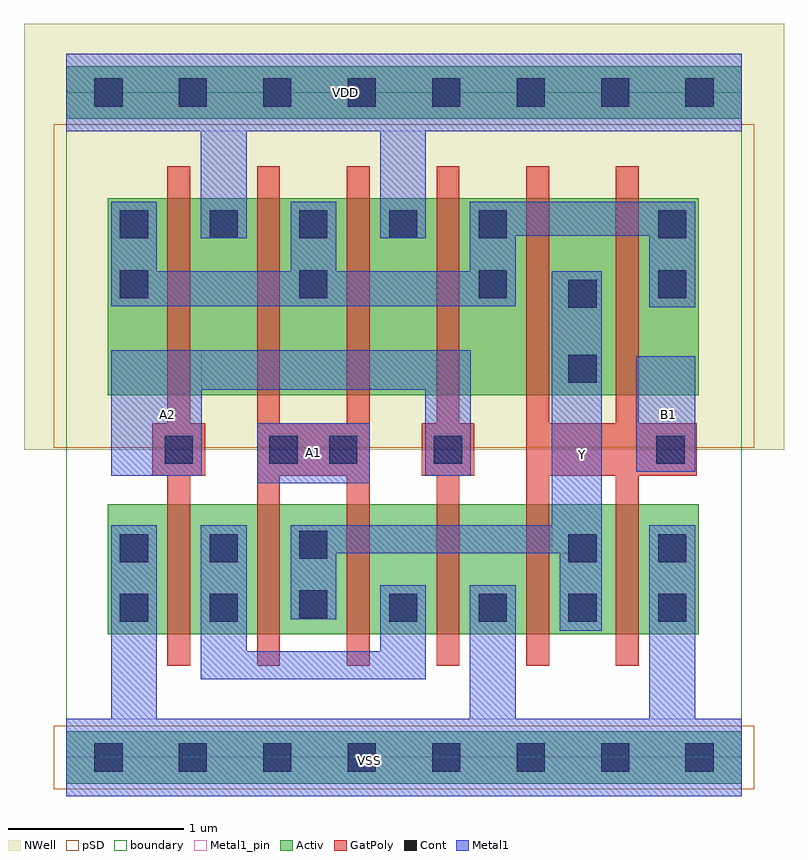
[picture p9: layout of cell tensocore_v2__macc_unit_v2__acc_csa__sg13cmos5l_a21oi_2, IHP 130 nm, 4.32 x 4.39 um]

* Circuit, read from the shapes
.subckt tensocore_v2__macc_unit_v2__acc_csa__sg13cmos5l_a21oi_2 A1 A2 B1 VDD VSS Y
XM1 n1 A2 VSS VSS sg13_lv_nmos w=0.74u l=0.13u m=2
XM2 Y A1 n1 VSS sg13_lv_nmos w=0.74u l=0.13u m=2
XM3 Y B1 VSS VSS sg13_lv_nmos w=0.74u l=0.13u m=2
XM4 VDD A2 n2 VDD sg13_lv_pmos w=1.12u l=0.13u m=2
XM5 n2 A1 VDD VDD sg13_lv_pmos w=1.12u l=0.13u m=2
XM6 Y B1 n2 VDD sg13_lv_pmos w=1.12u l=0.13u m=2
.ends

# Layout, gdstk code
import gdstk
lib = gdstk.Library(unit=1e-6, precision=1e-09)
def R(c, l, rs):  # rectangles x0, y0, x1, y1
    for r in rs: c.add(gdstk.rectangle(r[:2], r[2:], *l))
def A(c, l, x, y, w, h, nx, ny, dx, dy):  # array of equal rectangles
    R(c, l, [(x+i*dx, y+j*dy, x+i*dx+w, y+j*dy+h) for i in range(nx) for j in range(ny)])
def P(c, l, *ps):  # polygons
    for p in ps: c.add(gdstk.Polygon(p, *l))
Activ = (1, 0)
GatPoly = (5, 0)
Cont = (6, 0)
Metal1 = (8, 0)
Metal1_pin = (8, 2)
pSD = (14, 0)
NWell = (31, 0)
boundary = (189, 4)

tensocore_v2__macc_unit_ = lib.new_cell('tensocore_v2__macc_unit_v2__acc_csa__sg13cmos5l_a21oi_2')
R(tensocore_v2__macc_unit_, Activ, [(0,-0.15,3.84,0.15), (0.235,0.7,3.595,1.44), (0.235,2.06,3.595,3.18), (0,3.63,3.84,3.93)])
P(tensocore_v2__macc_unit_, GatPoly, [(1.085,0.52),(1.085,3.36),(1.215,3.36),(1.215,1.9),(1.595,1.9),(1.595,3.36),(1.725,3.36),(1.725,0.52),(1.595,0.52),(1.595,1.6),(1.215,1.6),(1.215,0.52)],
  [(2.615,0.52),(2.615,3.36),(2.745,3.36),(2.745,1.9),(3.125,1.9),(3.125,3.36),(3.255,3.36),(3.255,1.9),(3.585,1.9),(3.585,1.6),(3.255,1.6),(3.255,0.52),(3.125,0.52),(3.125,1.6),(2.745,1.6),(2.745,0.52)],
  [(0.575,0.52),(0.575,1.6),(0.49,1.6),(0.49,1.9),(0.575,1.9),(0.575,3.36),(0.705,3.36),(0.705,1.9),(0.79,1.9),(0.79,1.6),(0.705,1.6),(0.705,0.52)],
  [(2.105,0.52),(2.105,1.6),(2.02,1.6),(2.02,1.9),(2.105,1.9),(2.105,3.36),(2.235,3.36),(2.235,1.9),(2.32,1.9),(2.32,1.6),(2.235,1.6),(2.235,0.52)])
A(tensocore_v2__macc_unit_, Cont, 0.16, -0.08, 0.16, 0.16, 8, 2, 0.48, 3.78)
A(tensocore_v2__macc_unit_, Cont, 1.835, 0.77, 0.16, 0.16, 4, 1, 0.51, 0)
A(tensocore_v2__macc_unit_, Cont, 0.305, 2.61, 0.16, 0.16, 4, 1, 1.02, 0)
A(tensocore_v2__macc_unit_, Cont, 0.305, 2.95, 0.16, 0.16, 5, 1, 0.51, 0)
R(tensocore_v2__macc_unit_, Cont, [(0.305,0.77,0.465,0.93), (0.815,0.77,0.975,0.93), (1.325,0.79,1.485,0.95), (0.305,1.11,0.465,1.27), (0.815,1.11,0.975,1.27), (2.855,1.11,3.015,1.27), (3.365,1.11,3.525,1.27), (1.325,1.13,1.485,1.29), (0.56,1.67,0.72,1.83), (1.155,1.67,1.315,1.83), (1.495,1.67,1.655,1.83), (2.09,1.67,2.25,1.83), (3.355,1.67,3.515,1.83), (2.855,2.13,3.015,2.29), (2.855,2.555,3.015,2.715), (3.365,2.95,3.525,3.11)])
R(tensocore_v2__macc_unit_, Metal1, [(1.085,1.56,1.725,1.9), (3.24,1.625,3.575,2.28)])
P(tensocore_v2__macc_unit_, Metal1, [(0.255,1.6),(0.255,2.315),(2.3,2.315),(2.3,1.6),(2.04,1.6),(2.04,2.09),(0.77,2.09),(0.77,1.6)],
  [(0.765,0.445),(0.765,1.32),(1.025,1.32),(1.025,0.605),(1.785,0.605),(1.785,0.98),(2.045,0.98),(2.045,0.445)],
  [(2.805,0.72),(2.805,1.16),(1.535,1.16),(1.535,0.785),(1.275,0.785),(1.275,1.32),(2.76,1.32),(2.76,2.765),(3.045,2.765),(3.045,0.72)],
  [(3.315,2.56),(3.315,2.965),(2.555,2.965),(2.555,2.565),(0.255,2.565),(0.255,3.16),(0.515,3.16),(0.515,2.765),(1.275,2.765),(1.275,3.16),(1.535,3.16),(1.535,2.765),(2.295,2.765),(2.295,3.16),(3.575,3.16),(3.575,2.56)],
  [(0.765,2.95),(0.765,3.56),(0,3.56),(0,4),(3.84,4),(3.84,3.56),(2.045,3.56),(2.045,2.95),(1.785,2.95),(1.785,3.56),(1.025,3.56),(1.025,2.95)],
  [(0,-0.22),(0,0.22),(0.255,0.22),(0.255,1.32),(0.515,1.32),(0.515,0.22),(2.295,0.22),(2.295,0.98),(2.555,0.98),(2.555,0.22),(3.315,0.22),(3.315,1.32),(3.575,1.32),(3.575,0.22),(3.84,0.22),(3.84,-0.22)])
R(tensocore_v2__macc_unit_, Metal1_pin, [(0,-0.22,3.84,0.22), (2.76,1.16,3.045,2.765), (1.085,1.56,1.725,1.9), (0.255,1.6,0.77,2.315), (3.24,1.625,3.575,2.28), (0,3.56,3.84,4)])
R(tensocore_v2__macc_unit_, pSD, [(-0.07,-0.18,3.91,0.18), (-0.07,1.76,3.91,3.6)])
R(tensocore_v2__macc_unit_, NWell, [(-0.24,1.75,4.08,4.17)])
R(tensocore_v2__macc_unit_, boundary, [(0,0,3.84,3.78)])
tensocore_v2__macc_unit_.add(gdstk.Label('VDD', (1.585,3.78), layer=8, texttype=25))
tensocore_v2__macc_unit_.add(gdstk.Label('B1', (3.425,1.95), layer=8, texttype=25))
tensocore_v2__macc_unit_.add(gdstk.Label('VSS', (1.725,-0.02), layer=8, texttype=25))
tensocore_v2__macc_unit_.add(gdstk.Label('A1', (1.405,1.735), layer=8, texttype=25))
tensocore_v2__macc_unit_.add(gdstk.Label('A2', (0.575,1.95), layer=8, texttype=25))
tensocore_v2__macc_unit_.add(gdstk.Label('Y', (2.935,1.72), layer=8, texttype=25))

lib.write_gds('tensocore_v2__macc_unit_v2__acc_csa__sg13cmos5l_a21oi_2.gds')
